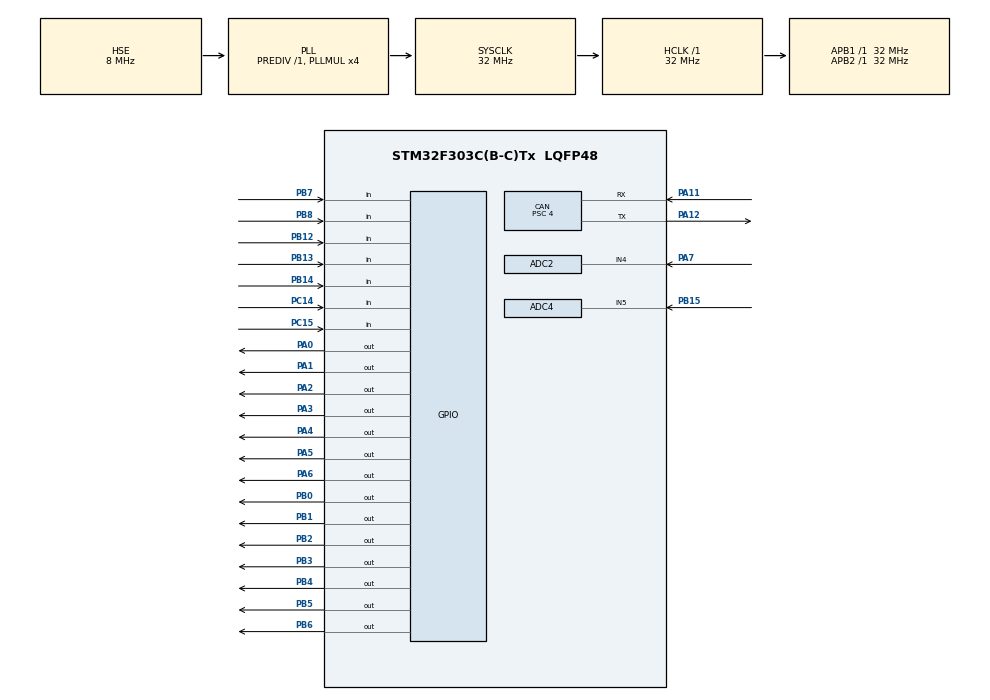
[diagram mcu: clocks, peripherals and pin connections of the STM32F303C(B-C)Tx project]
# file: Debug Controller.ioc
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ADC2.Channel-0\#ChannelRegularConversion=ADC_CHANNEL_4
ADC2.ContinuousConvMode=ENABLE
ADC2.NbrOfConversionFlag=1
ADC2.Offset-0\#ChannelRegularConversion=0
ADC2.OffsetNumber-0\#ChannelRegularConversion=ADC_OFFSET_NONE
ADC2.Rank-0\#ChannelRegularConversion=1
ADC2.SamplingTime-0\#ChannelRegularConversion=ADC_SAMPLETIME_1CYCLE_5
ADC2.SamplingTimeOPAMP-0\#ChannelRegularConversion=ADC_SAMPLETIME_19CYCLES_5
ADC4.Channel-0\#ChannelRegularConversion=ADC_CHANNEL_5
ADC4.ContinuousConvMode=ENABLE
ADC4.NbrOfConversionFlag=1
ADC4.Offset-0\#ChannelRegularConversion=0
ADC4.OffsetNumber-0\#ChannelRegularConversion=ADC_OFFSET_NONE
ADC4.Rank-0\#ChannelRegularConversion=1
ADC4.SamplingTime-0\#ChannelRegularConversion=ADC_SAMPLETIME_1CYCLE_5
ADC4.SamplingTimeOPAMP-0\#ChannelRegularConversion=ADC_SAMPLETIME_19CYCLES_5
CAN.BS1=CAN_BS1_5TQ
CAN.BS2=CAN_BS2_2TQ
CAN.CalculateBaudRate=1000000
CAN.CalculateTimeBit=1000
CAN.CalculateTimeQuantum=125.0
CAN.Prescaler=4
FREERTOS.Tasks01=MainTask,0,128,StartMainTask,Default,NULL,Dynamic,NULL,NULL;InputPoll,0,128,StartInputPoll,Default,NULL,Dynamic,NULL,NULL;ManageCanBus,0,128,StartManageCanBus,Default,NULL,Dynamic,NULL,NULL
Mcu.Family=STM32F3
Mcu.Name=STM32F303C(B-C)Tx
Mcu.Package=LQFP48
NVIC.PriorityGroup=NVIC_PRIORITYGROUP_4
NVIC.TIM6_DAC_IRQn=true\:15\:0\:false\:false\:true\:false\:false\:true\:true
NVIC.TimeBase=TIM6_DAC_IRQn
NVIC.TimeBaseIP=TIM6
PA0.Signal=GPIO_Output
PA1.Signal=GPIO_Output
PA11.Mode=CAN_Activate
PA11.Signal=CAN_RX
PA12.Mode=CAN_Activate
PA12.Signal=CAN_TX
PA2.Signal=GPIO_Output
PA3.Signal=GPIO_Output
PA4.Signal=GPIO_Output
PA5.Signal=GPIO_Output
PA6.Signal=GPIO_Output
PA7.Mode=IN4-Single-Ended
PA7.Signal=ADC2_IN4
PB0.Signal=GPIO_Output
PB1.Signal=GPIO_Output
PB12.GPIO_PuPd=GPIO_PULLDOWN
PB12.Signal=GPIO_Input
PB13.GPIO_PuPd=GPIO_PULLDOWN
PB13.Signal=GPIO_Input
PB14.GPIO_PuPd=GPIO_PULLDOWN
PB14.Signal=GPIO_Input
PB15.Mode=IN5-Single-Ended
PB15.Signal=ADC4_IN5
PB2.Signal=GPIO_Output
PB3.Signal=GPIO_Output
PB4.Signal=GPIO_Output
PB5.Signal=GPIO_Output
PB6.Signal=GPIO_Output
PB7.GPIO_PuPd=GPIO_PULLDOWN
PB7.Signal=GPIO_Input
PB8.GPIO_PuPd=GPIO_PULLDOWN
PB8.Signal=GPIO_Input
PC14-OSC32_IN.GPIO_PuPd=GPIO_PULLDOWN
PC14-OSC32_IN.Signal=GPIO_Input
PC15-OSC32_OUT.GPIO_PuPd=GPIO_PULLDOWN
PC15-OSC32_OUT.Signal=GPIO_Input
PF0-OSC_IN.Mode=HSE-External-Oscillator
PF0-OSC_IN.Signal=RCC_OSC_IN
PF1-OSC_OUT.Mode=HSE-External-Oscillator
PF1-OSC_OUT.Signal=RCC_OSC_OUT
ProjectManager.HeapSize=0x200
ProjectManager.StackSize=0x400
ProjectManager.TargetToolchain=STM32CubeIDE
RCC.AHBFreq_Value=32000000
RCC.APB1Freq_Value=32000000
RCC.APB1TimFreq_Value=32000000
RCC.APB2Freq_Value=32000000
RCC.APB2TimFreq_Value=32000000
RCC.CortexFreq_Value=32000000
RCC.HCLKFreq_Value=32000000
RCC.HSE_VALUE=8000000
RCC.HSI_VALUE=8000000
RCC.LSE_VALUE=32768
RCC.PLLMUL=RCC_PLL_MUL4
RCC.PLLSourceVirtual=RCC_PLLSOURCE_HSE
RCC.SYSCLKFreq_VALUE=32000000
RCC.SYSCLKSourceVirtual=RCC_SYSCLKSOURCE_PLLCLK
RCC.USBFreq_Value=32000000
VP_FREERTOS_VS_CMSIS_V1.Mode=CMSIS_V1
VP_SYS_VS_tim6.Mode=TIM6
board=custom

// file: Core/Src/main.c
/* USER CODE BEGIN Header */
/**
  ******************************************************************************
  * @file           : main.c
  * @brief          : Main program body
  ******************************************************************************
  * @attention
  *
  * Copyright (c) 2025 STMicroelectronics.
  * All rights reserved.
  *
  * This software is licensed under terms that can be found in the LICENSE file
  * in the root directory of this software component.
  * If no LICENSE file comes with this software, it is provided AS-IS.
  *
  ******************************************************************************
  */
/* USER CODE END Header */
#include "main.h"
#include "cmsis_os.h"

/* USER CODE BEGIN Includes */
#include <stdbool.h>
#include <string.h>
/* USER CODE END Includes */

/* USER CODE BEGIN PTD */
typedef enum {
	DISPLAY_LEFT = 0U,
	DISPLAY_RIGHT
} DISPLAY_SELECT;
/* USER CODE END PTD */

/* USER CODE BEGIN PM */
#define CAN_DATA_SIZE 4
#define DISPLAY_NOTHING 255

#define CAN_ID 0b1111

#define CAN_ID_MASK 		0b00000000000011110000000000000000
#define CAN_ACTUATOR_MASK 	0b00000000000000001111000000000000

#define CAN_QUEUE_SiZE 10

#define JSTICK_R_MAX 0x0be6
#define JSTICK_L_MAX 0x0eec
#define DEAD_ZONE_SIZE 0.15
/* USER CODE END PM */

ADC_HandleTypeDef hadc2;
ADC_HandleTypeDef hadc4;

CAN_HandleTypeDef hcan;

osThreadId MainTaskHandle;
osThreadId InputPollHandle;
osThreadId ManageCanBusHandle;
/* USER CODE BEGIN PV */
struct InputStates {
	uint8_t sw1: 1;
	uint8_t sw2: 1;
	uint8_t sw3: 1;
	uint8_t sw4: 1;
	uint8_t blt: 1;
	uint8_t blb: 1;
	uint8_t brt: 1;
	uint8_t brb: 1;
};

struct InputStates inputStateCurr;
struct InputStates inputStatePrev;

struct {
	uint32_t blt;
	uint32_t blb;
	uint32_t brt;
	uint32_t brb;
} debounceTicks;

struct {
	float r;
	float l;
	uint32_t rraw;
	uint32_t lraw;
} joystickValues;

struct ModeFunctions {
	void (*Entry)(void);
	void (*Loop)(void);
	void (*Exit)(void);
};

uint8_t selectedID = 0;
uint8_t selectedActuator = 0;
uint8_t selectedIDPrev = 0;
uint8_t selectedActuatorPrev = 0;
uint8_t debugId = CAN_ID;
uint8_t priority = 1;
uint8_t commandId = 0x03;

CAN_TxHeaderTypeDef CAN_TxHeader;
CAN_RxHeaderTypeDef CAN_RxHeader;
uint32_t CAN_TxMailbox = 0;
uint8_t CAN_TxData[CAN_DATA_SIZE] = {};
uint8_t CAN_RxData[CAN_DATA_SIZE] = {};

uint32_t CAN_TxHeader_Queue[CAN_QUEUE_SiZE] = {};
uint32_t CAN_TxData_Queue[CAN_QUEUE_SiZE] = {};
uint8_t CAN_Tx_Queue_I = 0;

/* USER CODE END PV */

void SystemClock_Config(void);
static void MX_GPIO_Init(void);
static void MX_CAN_Init(void);
static void MX_ADC2_Init(void);
static void MX_ADC4_Init(void);
void StartMainTask(void const * argument);
void StartInputPoll(void const * argument);
void StartManageCanBus(void const * argument);

/* USER CODE BEGIN PFP */
void SetDisplay(DISPLAY_SELECT select, uint8_t value);
float map(float x,float minVal, float maxVal, float nMin, float nMax);
bool Debounce(uint32_t* dTick, bool toCheck, uint32_t debounceSet);
void DeadZone(float* val, float zone);
void CAN_Filter(CAN_HandleTypeDef* hcan, CAN_TxHeaderTypeDef* CAN_TxHeader);
void CAN_Tx_Queue_Add(uint32_t header, uint32_t data);
void CAN_Tx_Queue_Clear(void);

void ModeDebugEntry(void);
void ModeDebugLoop(void);
void ModeDebugExit(void);
void ModeDriveEntry(void);
void ModeDriveLoop(void);
void ModeDriveExit(void);
void ModeNothingEntry(void);
void ModeNothingLoop(void);
void ModeNothingExit(void);
/* USER CODE END PFP */

int main(void)
{

  /* MCU Configuration--------------------------------------------------------*/

  /* Reset of all peripherals, Initializes the Flash interface and the Systick. */
  HAL_Init();

  /* Configure the system clock */
  SystemClock_Config();

  /* Initialize all configured peripherals */
  MX_GPIO_Init();
  MX_CAN_Init();
  MX_ADC2_Init();
  MX_ADC4_Init();
  /* USER CODE BEGIN 2 */
  HAL_ADC_Start(&hadc2);
  HAL_ADC_Start(&hadc4);

  CAN_Filter(&hcan, &CAN_TxHeader);
  HAL_CAN_Start(&hcan);
  /* USER CODE END 2 */

  /* Create the thread(s) */
  /* definition and creation of MainTask */
  osThreadDef(MainTask, StartMainTask, osPriorityNormal, 0, 128);
  MainTaskHandle = osThreadCreate(osThread(MainTask), NULL);

  /* definition and creation of InputPoll */
  osThreadDef(InputPoll, StartInputPoll, osPriorityNormal, 0, 128);
  InputPollHandle = osThreadCreate(osThread(InputPoll), NULL);

  /* definition and creation of ManageCanBus */
  osThreadDef(ManageCanBus, StartManageCanBus, osPriorityNormal, 0, 128);
  ManageCanBusHandle = osThreadCreate(osThread(ManageCanBus), NULL);

  /* Start scheduler */
  osKernelStart();

  /* We should never get here as control is now taken by the scheduler */

  /* Infinite loop */
  while (1)
  {

  }
}

void SystemClock_Config(void)
{
  RCC_OscInitTypeDef RCC_OscInitStruct = {0};
  RCC_ClkInitTypeDef RCC_ClkInitStruct = {0};
  RCC_PeriphCLKInitTypeDef PeriphClkInit = {0};

  /** Initializes the RCC Oscillators according to the specified parameters
  * in the RCC_OscInitTypeDef structure.
  */
  RCC_OscInitStruct.OscillatorType = RCC_OSCILLATORTYPE_HSE;
  RCC_OscInitStruct.HSEState = RCC_HSE_ON;
  RCC_OscInitStruct.HSEPredivValue = RCC_HSE_PREDIV_DIV1;
  RCC_OscInitStruct.HSIState = RCC_HSI_ON;
  RCC_OscInitStruct.PLL.PLLState = RCC_PLL_ON;
  RCC_OscInitStruct.PLL.PLLSource = RCC_PLLSOURCE_HSE;
  RCC_OscInitStruct.PLL.PLLMUL = RCC_PLL_MUL4;
  if (HAL_RCC_OscConfig(&RCC_OscInitStruct) != HAL_OK)
  {
    Error_Handler();
  }

  /** Initializes the CPU, AHB and APB buses clocks
  */
  RCC_ClkInitStruct.ClockType = RCC_CLOCKTYPE_HCLK|RCC_CLOCKTYPE_SYSCLK
                              |RCC_CLOCKTYPE_PCLK1|RCC_CLOCKTYPE_PCLK2;
  RCC_ClkInitStruct.SYSCLKSource = RCC_SYSCLKSOURCE_PLLCLK;
  RCC_ClkInitStruct.AHBCLKDivider = RCC_SYSCLK_DIV1;
  RCC_ClkInitStruct.APB1CLKDivider = RCC_HCLK_DIV1;
  RCC_ClkInitStruct.APB2CLKDivider = RCC_HCLK_DIV1;

  if (HAL_RCC_ClockConfig(&RCC_ClkInitStruct, FLASH_LATENCY_1) != HAL_OK)
  {
    Error_Handler();
  }
  PeriphClkInit.PeriphClockSelection = RCC_PERIPHCLK_ADC12|RCC_PERIPHCLK_ADC34;
  PeriphClkInit.Adc12ClockSelection = RCC_ADC12PLLCLK_DIV1;
  PeriphClkInit.Adc34ClockSelection = RCC_ADC34PLLCLK_DIV1;
  if (HAL_RCCEx_PeriphCLKConfig(&PeriphClkInit) != HAL_OK)
  {
    Error_Handler();
  }
}

static void MX_ADC2_Init(void)
{

  ADC_ChannelConfTypeDef sConfig = {0};

  /** Common config
  */
  hadc2.Instance = ADC2;
  hadc2.Init.ClockPrescaler = ADC_CLOCK_ASYNC_DIV1;
  hadc2.Init.Resolution = ADC_RESOLUTION_12B;
  hadc2.Init.ScanConvMode = ADC_SCAN_DISABLE;
  hadc2.Init.ContinuousConvMode = ENABLE;
  hadc2.Init.DiscontinuousConvMode = DISABLE;
  hadc2.Init.ExternalTrigConvEdge = ADC_EXTERNALTRIGCONVEDGE_NONE;
  hadc2.Init.ExternalTrigConv = ADC_SOFTWARE_START;
  hadc2.Init.DataAlign = ADC_DATAALIGN_RIGHT;
  hadc2.Init.NbrOfConversion = 1;
  hadc2.Init.DMAContinuousRequests = DISABLE;
  hadc2.Init.EOCSelection = ADC_EOC_SINGLE_CONV;
  hadc2.Init.LowPowerAutoWait = DISABLE;
  hadc2.Init.Overrun = ADC_OVR_DATA_OVERWRITTEN;
  if (HAL_ADC_Init(&hadc2) != HAL_OK)
  {
    Error_Handler();
  }

  /** Configure Regular Channel
  */
  sConfig.Channel = ADC_CHANNEL_4;
  sConfig.Rank = ADC_REGULAR_RANK_1;
  sConfig.SingleDiff = ADC_SINGLE_ENDED;
  sConfig.SamplingTime = ADC_SAMPLETIME_1CYCLE_5;
  sConfig.OffsetNumber = ADC_OFFSET_NONE;
  sConfig.Offset = 0;
  if (HAL_ADC_ConfigChannel(&hadc2, &sConfig) != HAL_OK)
  {
    Error_Handler();
  }

}

static void MX_ADC4_Init(void)
{

  ADC_ChannelConfTypeDef sConfig = {0};

  /** Common config
  */
  hadc4.Instance = ADC4;
  hadc4.Init.ClockPrescaler = ADC_CLOCK_ASYNC_DIV1;
  hadc4.Init.Resolution = ADC_RESOLUTION_12B;
  hadc4.Init.ScanConvMode = ADC_SCAN_DISABLE;
  hadc4.Init.ContinuousConvMode = ENABLE;
  hadc4.Init.DiscontinuousConvMode = DISABLE;
  hadc4.Init.ExternalTrigConvEdge = ADC_EXTERNALTRIGCONVEDGE_NONE;
  hadc4.Init.ExternalTrigConv = ADC_SOFTWARE_START;
  hadc4.Init.DataAlign = ADC_DATAALIGN_RIGHT;
  hadc4.Init.NbrOfConversion = 1;
  hadc4.Init.DMAContinuousRequests = DISABLE;
  hadc4.Init.EOCSelection = ADC_EOC_SINGLE_CONV;
  hadc4.Init.LowPowerAutoWait = DISABLE;
  hadc4.Init.Overrun = ADC_OVR_DATA_OVERWRITTEN;
  if (HAL_ADC_Init(&hadc4) != HAL_OK)
  {
    Error_Handler();
  }

  /** Configure Regular Channel
  */
  sConfig.Channel = ADC_CHANNEL_5;
  sConfig.Rank = ADC_REGULAR_RANK_1;
  sConfig.SingleDiff = ADC_SINGLE_ENDED;
  sConfig.SamplingTime = ADC_SAMPLETIME_1CYCLE_5;
  sConfig.OffsetNumber = ADC_OFFSET_NONE;
  sConfig.Offset = 0;
  if (HAL_ADC_ConfigChannel(&hadc4, &sConfig) != HAL_OK)
  {
    Error_Handler();
  }

}

static void MX_CAN_Init(void)
{

  hcan.Instance = CAN;
  hcan.Init.Prescaler = 4;
  hcan.Init.Mode = CAN_MODE_NORMAL;
  hcan.Init.SyncJumpWidth = CAN_SJW_1TQ;
  hcan.Init.TimeSeg1 = CAN_BS1_5TQ;
  hcan.Init.TimeSeg2 = CAN_BS2_2TQ;
  hcan.Init.TimeTriggeredMode = DISABLE;
  hcan.Init.AutoBusOff = DISABLE;
  hcan.Init.AutoWakeUp = DISABLE;
  hcan.Init.AutoRetransmission = DISABLE;
  hcan.Init.ReceiveFifoLocked = DISABLE;
  hcan.Init.TransmitFifoPriority = DISABLE;
  if (HAL_CAN_Init(&hcan) != HAL_OK)
  {
    Error_Handler();
  }

}

static void MX_GPIO_Init(void)
{
  GPIO_InitTypeDef GPIO_InitStruct = {0};

  /* GPIO Ports Clock Enable */
  __HAL_RCC_GPIOC_CLK_ENABLE();
  __HAL_RCC_GPIOF_CLK_ENABLE();
  __HAL_RCC_GPIOA_CLK_ENABLE();
  __HAL_RCC_GPIOB_CLK_ENABLE();

  /*Configure GPIO pin Output Level */
  HAL_GPIO_WritePin(GPIOA, GPIO_PIN_0|GPIO_PIN_1|GPIO_PIN_2|GPIO_PIN_3
                          |GPIO_PIN_4|GPIO_PIN_5|GPIO_PIN_6, GPIO_PIN_RESET);

  /*Configure GPIO pin Output Level */
  HAL_GPIO_WritePin(GPIOB, GPIO_PIN_0|GPIO_PIN_1|GPIO_PIN_2|GPIO_PIN_3
                          |GPIO_PIN_4|GPIO_PIN_5|GPIO_PIN_6, GPIO_PIN_RESET);

  /*Configure GPIO pins : PC14 PC15 */
  GPIO_InitStruct.Pin = GPIO_PIN_14|GPIO_PIN_15;
  GPIO_InitStruct.Mode = GPIO_MODE_INPUT;
  GPIO_InitStruct.Pull = GPIO_PULLDOWN;
  HAL_GPIO_Init(GPIOC, &GPIO_InitStruct);

  /*Configure GPIO pins : PA0 PA1 PA2 PA3
                           PA4 PA5 PA6 */
  GPIO_InitStruct.Pin = GPIO_PIN_0|GPIO_PIN_1|GPIO_PIN_2|GPIO_PIN_3
                          |GPIO_PIN_4|GPIO_PIN_5|GPIO_PIN_6;
  GPIO_InitStruct.Mode = GPIO_MODE_OUTPUT_PP;
  GPIO_InitStruct.Pull = GPIO_NOPULL;
  GPIO_InitStruct.Speed = GPIO_SPEED_FREQ_LOW;
  HAL_GPIO_Init(GPIOA, &GPIO_InitStruct);

  /*Configure GPIO pins : PB0 PB1 PB2 PB3
                           PB4 PB5 PB6 */
  GPIO_InitStruct.Pin = GPIO_PIN_0|GPIO_PIN_1|GPIO_PIN_2|GPIO_PIN_3
                          |GPIO_PIN_4|GPIO_PIN_5|GPIO_PIN_6;
  GPIO_InitStruct.Mode = GPIO_MODE_OUTPUT_PP;
  GPIO_InitStruct.Pull = GPIO_NOPULL;
  GPIO_InitStruct.Speed = GPIO_SPEED_FREQ_LOW;
  HAL_GPIO_Init(GPIOB, &GPIO_InitStruct);

  /*Configure GPIO pins : PB12 PB13 PB14 PB7
                           PB8 */
  GPIO_InitStruct.Pin = GPIO_PIN_12|GPIO_PIN_13|GPIO_PIN_14|GPIO_PIN_7
                          |GPIO_PIN_8;
  GPIO_InitStruct.Mode = GPIO_MODE_INPUT;
  GPIO_InitStruct.Pull = GPIO_PULLDOWN;
  HAL_GPIO_Init(GPIOB, &GPIO_InitStruct);

}

/* USER CODE BEGIN 4 */

void SetDisplay(DISPLAY_SELECT select, uint8_t value){
	uint8_t digits[10] = {0x3F,0x06,0x5B,0x4F,0x66,0x6D,0x7D,0x07,0x7F,0x6F};
	GPIO_TypeDef* gpio;
	switch (select){
	case (DISPLAY_LEFT):
		gpio = GPIOB;
		break;
	case (DISPLAY_RIGHT):
		gpio = GPIOA;
		break;
	}
	HAL_GPIO_WritePin(gpio, digits[8], GPIO_PIN_SET);
	if (value == DISPLAY_NOTHING){
	} else if (value == 11){
		HAL_GPIO_WritePin(gpio, 0x49, GPIO_PIN_RESET);
	} else if (value == 10){
		HAL_GPIO_WritePin(gpio, digits[8], GPIO_PIN_RESET);
	} else if (value < 10){
		HAL_GPIO_WritePin(gpio, digits[value], GPIO_PIN_RESET);
	}
}

float map(float x,float minVal, float maxVal, float nMin, float nMax){
	if (maxVal == minVal) return 0;
	return nMin + ((x - minVal) * (nMax - nMin)) / (maxVal - minVal);
}

bool Debounce(uint32_t* dTick, bool toCheck, uint32_t debounceSet){
	if (*dTick > 0) (*dTick)--;
	if (toCheck == true){
		if (*dTick > 0) return false;
		*dTick = debounceSet;
		return true;
	} else {
		*dTick = 0;
		return false;
	}
}

void DeadZone(float* val, float zone){
	if(*val < -zone){
		*val = (*val+zone)/(1-zone);
	} else if(*val > zone){
		*val = (*val-zone)/(1-zone);;
	} else {
		*val = 0;
	}
}

void CAN_Filter(CAN_HandleTypeDef* hcan, CAN_TxHeaderTypeDef* CAN_TxHeader)
{ // This function initializes the CAN filter for the board.
  // The CANID ports are named for their respective address bits, i.e., 0 to the 0th bit.

    // Setting up the TxHeader
    CAN_TxHeader->IDE = CAN_ID_EXT; // Extended identifier, not the standard length.
    CAN_TxHeader->RTR = CAN_RTR_DATA; // Specifying data frames, not remote frames.
    CAN_TxHeader->DLC = CAN_DATA_SIZE; // CAN_SIZE_DATA; //The data size (5 bytes)
    CAN_TxHeader->ExtId = 0; // Needs to be changed depending on the frame

    CAN_FilterTypeDef CAN_FILTER_CONFIG; // Declaring the filter structure.
    CAN_FILTER_CONFIG.FilterFIFOAssignment = CAN_FILTER_FIFO0; // Choosing the FIFO0 set.
    CAN_FILTER_CONFIG.FilterIdHigh = (uint32_t)(CAN_ID >> 1);
    CAN_FILTER_CONFIG.FilterIdLow = (uint32_t)((CAN_ID << 15) & 0xFFFF);
    CAN_FILTER_CONFIG.FilterMaskIdHigh = (uint32_t)(CAN_ID_MASK >> 16);
    CAN_FILTER_CONFIG.FilterMaskIdLow = (uint32_t)(CAN_ID_MASK & 0xFFFF);
    CAN_FILTER_CONFIG.FilterBank = 0;
    CAN_FILTER_CONFIG.FilterMode = CAN_FILTERMODE_IDMASK; // Using the mask mode to ignore certain bits.
    CAN_FILTER_CONFIG.FilterScale = CAN_FILTERSCALE_32BIT; // Using the extended ID so 32bit filters.
    CAN_FILTER_CONFIG.FilterActivation = CAN_FILTER_ENABLE; // Enabling the filter.
    HAL_CAN_ConfigFilter(hcan, &CAN_FILTER_CONFIG);
}

void CAN_Tx_Queue_Add(uint32_t header, uint32_t data){
	if (!(CAN_Tx_Queue_I < CAN_QUEUE_SiZE)) return;
	CAN_Tx_Queue_I++;
	CAN_TxHeader_Queue[CAN_Tx_Queue_I-1] = header;
	CAN_TxData_Queue[CAN_Tx_Queue_I-1] = data;
}

void CAN_Tx_Queue_Clear(void){
	CAN_Tx_Queue_I = 0;
}

//Mode 0 functions: Debug mode
void ModeDebugEntry(void){
	SetDisplay(DISPLAY_LEFT, 0);
	SetDisplay(DISPLAY_RIGHT, 0);
	selectedID = 0;
	selectedActuator = 0;
	commandId = 0x03;

	debounceTicks.blt = 0;
	debounceTicks.blb = 0;
	debounceTicks.brt = 0;
	debounceTicks.brb = 0;
}

void ModeDebugLoop(void){
	if (Debounce(&(debounceTicks.blt), inputStateCurr.blt, 20) && selectedID < 9) selectedID++;
	if (Debounce(&(debounceTicks.blb), inputStateCurr.blb, 20) && selectedID > 0) selectedID--;
	if (Debounce(&(debounceTicks.brt), inputStateCurr.brt, 20) && selectedActuator < 9) selectedActuator++;
	if (Debounce(&(debounceTicks.brb), inputStateCurr.brb, 20) && selectedActuator > 0) selectedActuator--;
	SetDisplay(DISPLAY_LEFT, selectedID);
	SetDisplay(DISPLAY_RIGHT, selectedActuator);
	if (selectedID != selectedIDPrev || selectedActuator != selectedActuatorPrev){
		CAN_Tx_Queue_Add(
			priority<<24|commandId<<16|selectedIDPrev<<12|selectedActuatorPrev<<8|debugId<<4,
			0
		);
		selectedIDPrev = selectedID;
		selectedActuatorPrev = selectedActuator;
		return;
	}
	selectedIDPrev = selectedID;
	selectedActuatorPrev = selectedActuator;

	float data = map(joystickValues.l, -1, 1, 0.1, 1) * -joystickValues.r;
	uint32_t ndata = 0;
	memcpy(&ndata, &data, sizeof data);

	CAN_Tx_Queue_Add(
		priority<<24|commandId<<16|selectedID<<12|selectedActuator<<8|debugId<<4,
		ndata
	);
}

void ModeDebugExit(void){
	SetDisplay(DISPLAY_LEFT, DISPLAY_NOTHING);
	SetDisplay(DISPLAY_RIGHT, DISPLAY_NOTHING);

	CAN_Tx_Queue_Clear();
	CAN_Tx_Queue_Add(
		priority<<24|commandId<<16|selectedID<<12|selectedActuator<<8|debugId<<4,
		0
	);
}

//Mode 1 functions: Drive mode
void ModeDriveEntry(void){
	SetDisplay(DISPLAY_LEFT, 8);
	SetDisplay(DISPLAY_RIGHT, 8);
	selectedID = 0;
	selectedActuator = 0;
	commandId = 0x03;

	debounceTicks.blt = 0;
	debounceTicks.blb = 0;
	debounceTicks.brt = 0;
	debounceTicks.brb = 0;

	CAN_Tx_Queue_Clear();
}

void ModeDriveLoop(void){
	uint8_t drive[6] = {0x11, 0x12, 0x13, 0x14, 0x15, 0x16};
	float driveMod[6] = {1, 1, 1, -1, -1, -1};
	uint8_t steer[4] = {0x22, 0x23, 0x24, 0x25}; //BL, FL, BR, FR
	float steerRight[4] = {-0.75, 0.75, -1, 1}; //BL, FL, BR, FR
	float steerLeft[4] = {-1, 1, -0.75, 0.75}; //BL, FL, BR, FR
	float steerAngle = 0.5 * 50; //rad

	for (uint8_t i=0; i<6; i++){
		selectedID = (drive[i] >> 4) & 0x0F;
		selectedActuator = (drive[i] >> 0) & 0x0F;
		commandId = 0x03;
		float data = joystickValues.r * driveMod[i] * 0.6;
		uint32_t ndata = 0;
		memcpy(&ndata, &data, sizeof data);
		CAN_Tx_Queue_Add(
			priority<<24|commandId<<16|selectedID<<12|selectedActuator<<8|debugId<<4,
			ndata
		);
	}
	for (uint8_t i=0; i<4; i++){
		selectedID = (steer[i] >> 4) & 0x0F;
		selectedActuator = (steer[i] >> 0) & 0x0F;
		commandId = 0x02;
		if (joystickValues.l > 0){
			float data = joystickValues.l * steerRight[i] * -steerAngle;
			uint32_t ndata = 0;
			memcpy(&ndata, &data, sizeof data);
			CAN_Tx_Queue_Add(
				priority<<24|commandId<<16|selectedID<<12|selectedActuator<<8|debugId<<4,
				ndata
			);
		} else {
			float data = joystickValues.l * steerLeft[i] * -steerAngle;
			uint32_t ndata = 0;
			memcpy(&ndata, &data, sizeof data);
			CAN_Tx_Queue_Add(
				priority<<24|commandId<<16|selectedID<<12|selectedActuator<<8|debugId<<4,
				ndata
			);
		}
	}
	osDelay(80);
}

void ModeDriveExit(void){
	uint8_t drive[6] = {0x11, 0x12, 0x13, 0x14, 0x15, 0x16};
	uint8_t steer[4] = {0x22, 0x23, 0x24, 0x25}; //BL, FL, BR, FR

	CAN_Tx_Queue_Clear();
	for (uint8_t i=0; i<6; i++){
		selectedID = (drive[i] >> 4) & 0x0F;
		selectedActuator = (drive[i] >> 0) & 0x0F;
		commandId = 0x03;
		CAN_Tx_Queue_Add(
			priority<<24|commandId<<16|selectedID<<12|selectedActuator<<8|debugId<<4,
			0
		);
	}
	for (uint8_t i=0; i<4; i++){
		selectedID = (steer[i] >> 4) & 0x0F;
		selectedActuator = (steer[i] >> 0) & 0x0F;
		commandId = 0x02;
		CAN_Tx_Queue_Add(
			priority<<24|commandId<<16|selectedID<<12|selectedActuator<<8|debugId<<4,
			0
		);
	}
}

//Mode 2 and 3 functions: Unset mode
void ModeNothingEntry(void){
	SetDisplay(DISPLAY_LEFT, 11);
	SetDisplay(DISPLAY_RIGHT, 11);
}

void ModeNothingLoop(void){

}

void ModeNothingExit(void){
	SetDisplay(DISPLAY_LEFT, DISPLAY_NOTHING);
	SetDisplay(DISPLAY_RIGHT, DISPLAY_NOTHING);
}

/* USER CODE END 4 */

void StartMainTask(void const * argument)
{
  /* USER CODE BEGIN 5 */
	uint8_t modeCurr = 0;
	uint8_t modePrev = 4;

	struct ModeFunctions modeFuncs[5];
	modeFuncs[0].Entry = &ModeDebugEntry;
	modeFuncs[0].Loop = &ModeDebugLoop;
	modeFuncs[0].Exit = &ModeDebugExit;
	modeFuncs[1].Entry = &ModeDriveEntry;
	modeFuncs[1].Loop = &ModeDriveLoop;
	modeFuncs[1].Exit = &ModeDriveExit;
	modeFuncs[2].Entry = &ModeNothingEntry;
	modeFuncs[2].Loop = &ModeNothingLoop;
	modeFuncs[2].Exit = &ModeNothingExit;
	modeFuncs[3].Entry = &ModeNothingEntry;
	modeFuncs[3].Loop = &ModeNothingLoop;
	modeFuncs[3].Exit = &ModeNothingExit;
	modeFuncs[4].Entry = &ModeNothingEntry;
	modeFuncs[4].Loop = &ModeNothingLoop;
	modeFuncs[4].Exit = &ModeNothingExit;

	/* Infinite loop */
	for(;;)
	{
		modeCurr = inputStateCurr.sw4? 3: modeCurr;
		modeCurr = inputStateCurr.sw3? 2: modeCurr;
		modeCurr = inputStateCurr.sw2? 1: modeCurr;
		modeCurr = inputStateCurr.sw1? 0: modeCurr;

		if (modeCurr != modePrev){
			modeFuncs[modePrev].Exit();
			modeFuncs[modeCurr].Entry();
			modePrev = modeCurr;
			osDelay(40);
			continue;
		}
		modeFuncs[modeCurr].Loop();

		osDelay(20);
	}
	osThreadTerminate(NULL);

  /* USER CODE END 5 */
}

void StartInputPoll(void const * argument)
{
  /* USER CODE BEGIN StartInputPoll */
	bool convert(GPIO_PinState state){
		if (state == GPIO_PIN_SET){
			return true;
		} else if (state == GPIO_PIN_RESET){
			return false;
		} else {
			return false;
		}
	}
	/* Infinite loop */
	for(;;)
	{
		//Poll for button and switch digital inputs.
		inputStateCurr.sw1 = convert(HAL_GPIO_ReadPin(GPIOB, GPIO_PIN_12));
		inputStateCurr.sw2 = convert(HAL_GPIO_ReadPin(GPIOB, GPIO_PIN_13));
		inputStateCurr.sw3 = convert(HAL_GPIO_ReadPin(GPIOB, GPIO_PIN_14));
		inputStateCurr.sw4 = false;
		inputStateCurr.blt = convert(HAL_GPIO_ReadPin(GPIOB, GPIO_PIN_7));
		inputStateCurr.blb = convert(HAL_GPIO_ReadPin(GPIOB, GPIO_PIN_8));
		inputStateCurr.brt = convert(HAL_GPIO_ReadPin(GPIOC, GPIO_PIN_15));
		inputStateCurr.brb = convert(HAL_GPIO_ReadPin(GPIOC, GPIO_PIN_14));

		//Poll for joystick analog inputs.
		HAL_ADC_PollForConversion(&hadc2, HAL_MAX_DELAY);
		joystickValues.rraw = HAL_ADC_GetValue(&hadc2);
		joystickValues.r = -map((float)(joystickValues.rraw), 0, JSTICK_R_MAX, -1, 1);
		DeadZone(&(joystickValues.r), DEAD_ZONE_SIZE);
		HAL_ADC_PollForConversion(&hadc4, HAL_MAX_DELAY);
		joystickValues.lraw = HAL_ADC_GetValue(&hadc4);
		joystickValues.l = map((float)(joystickValues.lraw), 0, JSTICK_L_MAX, -1, 1);
		DeadZone(&(joystickValues.l), DEAD_ZONE_SIZE);

		osDelay(40);
	}
	osThreadTerminate(NULL);
  /* USER CODE END StartInputPoll */
}

void StartManageCanBus(void const * argument)
{
  /* USER CODE BEGIN StartManageCanBus */
	/* Infinite loop */
	for(;;)
	{
		osDelay(10);
		if (!(CAN_Tx_Queue_I > 0)) continue;
		CAN_TxHeader.ExtId = CAN_TxHeader_Queue[CAN_Tx_Queue_I-1];
		CAN_TxData[0] = CAN_TxData_Queue[CAN_Tx_Queue_I-1] >> 24;
		CAN_TxData[1] = CAN_TxData_Queue[CAN_Tx_Queue_I-1] >> 16;
		CAN_TxData[2] = CAN_TxData_Queue[CAN_Tx_Queue_I-1] >> 8;
		CAN_TxData[3] = CAN_TxData_Queue[CAN_Tx_Queue_I-1] >> 0;
		HAL_StatusTypeDef result = HAL_CAN_AddTxMessage(&hcan, &CAN_TxHeader, CAN_TxData, &CAN_TxMailbox);
		if (result != HAL_OK) continue;
		CAN_Tx_Queue_I--;
	}
	osThreadTerminate(NULL);
  /* USER CODE END StartManageCanBus */
}

void HAL_TIM_PeriodElapsedCallback(TIM_HandleTypeDef *htim)
{
  if (htim->Instance == TIM6) {
    HAL_IncTick();
  }
}

void Error_Handler(void)
{
  __disable_irq();
  while (1)
  {
  }
}
